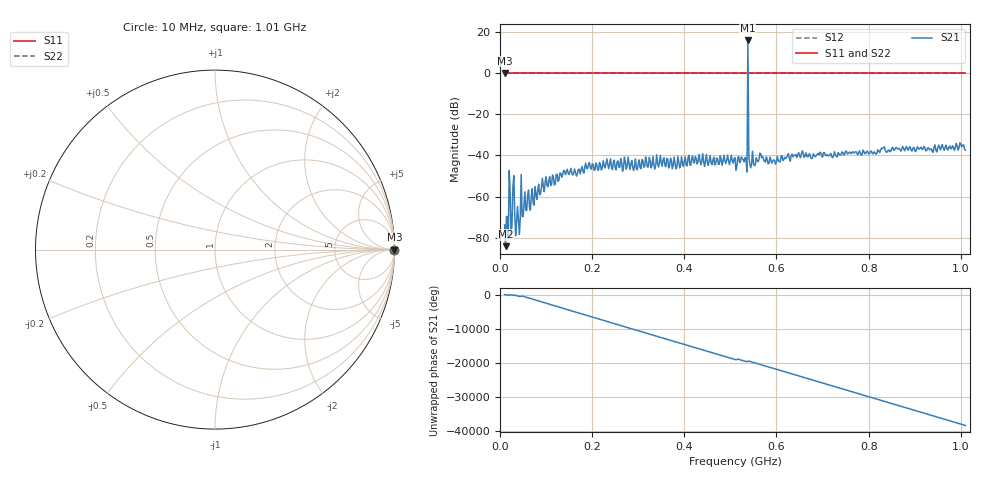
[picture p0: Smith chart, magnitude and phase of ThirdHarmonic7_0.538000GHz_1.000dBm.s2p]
! 8/17/2025 4:07:24 PM
! C:\ANRITSUVNA\TEMP\TEMP.S2P
! CHANNEL.1
! TR.MEASUREMENT
! RAW.DATA
! RF.CORRECTION.OFF
! AVERAGING.OFF
! IF.BANDWIDTH: 5KHZ
! SWEEPTYPE:  FREQ.SWEEP(Linear)
! Reference Plane Port Info
! PORT:  PORT1  PORT2
! DISTANCE:  0  m  0  m
! TIME:  0  s  0  s
! PHASE.OFFSET:  0  deg.  0  deg.
! LOSS:  0  dB  0  dB
! REF.LOSS:  0  dB  0  dB
! REF.FREQ:  0  Hz  0  Hz
! Power Info
! POWER:  -20  dBm  -20  dBm
! EFF.POWER:  -20  dBm  -20  dBm
! SOURCE.ATTEN:  0  dB  0  dB
! TEST.ATTEN:  0  dB  0  dB
# GHZ S RI R 50.0
! FREQ.GHZ  S11RE  S11IM  S21RE  S21IM  S12RE  S12IM  S22RE  S22IM
!; PortSelection: Port_12
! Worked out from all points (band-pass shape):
!   501 points, 10 MHz to 1.01 GHz, reference 50 ohm
!   highest |S21| = 15.74 dB at 538 MHz (marker M1); lowest = -84.0 dB at 12 MHz (marker M2)
!   |S21| within 3 dB of the highest: 537.906 MHz to 538.1061 MHz (200.1 kHz wide, 0.0372 % of centre)
!   lowest |S11| = 0.0 dB at 10 MHz (marker M3)
!   |S11| at or under -10 dB: nowhere
!   |S22| runs from 0.0 to 0.0 dB; largest |S21 - S12| = 5.4
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0.01  1 0  5.69e-05 0.000196  1 0  1 0
0.012  1 0  -4.31e-05 4.56e-05  1 0  1 0
0.014  1 0  -4.76e-05 0.000325  1 0  1 0
0.018  1 0  2.63e-05 -9.07e-05  1 0  1 0
0.022  1 0  0.00121 0.000539  1 0  1 0
0.024  1 0  6.45e-05 0.0001  1 0  1 0
0.032  1 0  0.00025 -0.000292  1 0  1 0
0.038  1 0  -0.000281 0.000504  1 0  1 0
0.05  1 0  0.000311 9.24e-05  1 0  1 0
0.052  1 0  0.000202 -0.000577  1 0  1 0
0.096  1 0  0.000209 -0.0013  1 0  1 0
0.178  1 0  -0.00516 -0.00161  1 0  1 0
0.344  1 0  0.0052 0.000183  1 0  1 0
0.51  1 0  -0.00878 -0.000445  1 0  1 0
0.532  1 0  0.00825 0.00323  1 0  1 0
0.534  1 0  0.00274 -0.00737  1 0  1 0
0.538  1 0  4.492 4.164  1 0  1 0
0.542  1 0  0.00538 -0.00347  1 0  1 0
0.544  1 0  -0.00109 -0.0049  1 0  1 0
0.678  1 0  0.00524 -0.00678  1 0  1 0
0.844  1 0  -0.00493 0.0126  1 0  1 0
1.01  1 0  0.00376 -0.0129  1 0  1 0
